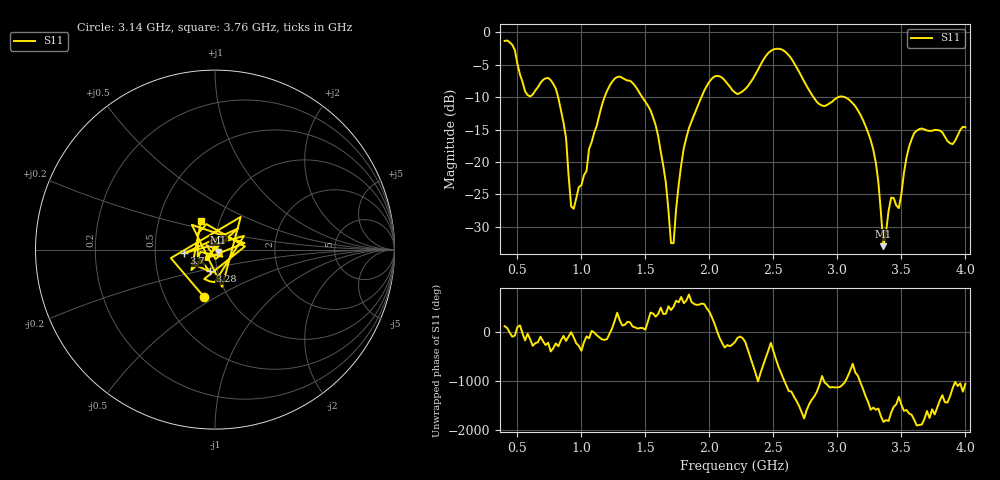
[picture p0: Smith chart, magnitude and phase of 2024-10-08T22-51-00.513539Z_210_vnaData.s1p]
! Created with skrf (http://scikit-rf.org).
# Hz S RI R 50.0
!freq ReS11 ImS11
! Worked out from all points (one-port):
!   181 points, 400 MHz to 4 GHz, reference 50 ohm
!   lowest |S11| = -33.0 dB at 3.36 GHz (marker M1), VSWR 1.05, Z = 51.8 - j1.39 ohm
!   |S11| at or under -10 dB: 818.4 MHz to 1.18 GHz (361.9 MHz wide, 36.2 % of centre); 1.476 GHz to 1.938 GHz (461.9 MHz wide, 27.1 % of centre); 3.059 GHz to end of sweep (the widest 3 of 4)
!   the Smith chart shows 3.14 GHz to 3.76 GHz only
!   S11 on the Smith chart (normalised r, x): 3.14 GHz: 0.77, -0.44; 3.28 GHz: 0.92, -0.23; 3.7 GHz: 0.70, -0.03; 3.76 GHz: 0.82, +0.27
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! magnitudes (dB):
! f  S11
! 400 MHz  -1.3
! 580 MHz  -9.7
! 760 MHz  -7.4
! 860 MHz  -13.9
! 940 MHz  -27.2
! 1.18 GHz  -10.0
! 1.3 GHz  -6.8
! 1.58 GHz  -14.3
! 1.66 GHz  -23.2
! 1.7 GHz  -32.5
! 1.72 GHz  -32.5
! 1.76 GHz  -23.5
! 1.84 GHz  -14.8
! 1.98 GHz  -8.2
! 2.2 GHz  -9.3
! 2.5 GHz  -2.6
! 2.66 GHz  -4.7
! 2.86 GHz  -11.1
! 3.1 GHz  -10.5
! 3.14 GHz  -11.4
! 3.28 GHz  -18.1
! 3.36 GHz  -33.0
! 3.42 GHz  -25.5
! 3.48 GHz  -27.1
! 3.56 GHz  -17.6
! 3.7 GHz  -15.1
! 3.76 GHz  -15.0
! 4 GHz  -14.6
